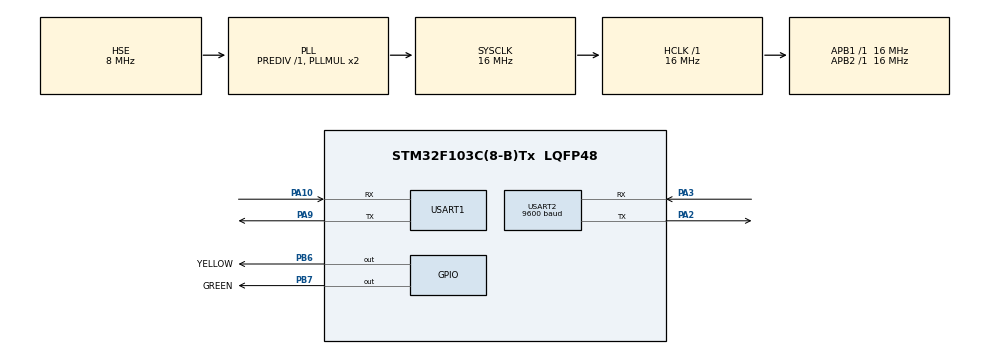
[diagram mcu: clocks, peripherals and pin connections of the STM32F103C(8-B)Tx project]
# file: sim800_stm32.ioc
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Mcu.Family=STM32F1
Mcu.Name=STM32F103C(8-B)Tx
Mcu.Package=LQFP48
NVIC.PriorityGroup=NVIC_PRIORITYGROUP_4
NVIC.USART1_IRQn=true\:0\:0\:false\:false\:true\:true\:true
PA10.Mode=Asynchronous
PA10.Signal=USART1_RX
PA13.Mode=Serial_Wire
PA13.Signal=SYS_JTMS-SWDIO
PA14.Mode=Serial_Wire
PA14.Signal=SYS_JTCK-SWCLK
PA2.Mode=Asynchronous
PA2.Signal=USART2_TX
PA3.Mode=Asynchronous
PA3.Signal=USART2_RX
PA9.Mode=Asynchronous
PA9.Signal=USART1_TX
PB6.GPIO_Label=YELLOW
PB6.Signal=GPIO_Output
PB7.GPIO_Label=GREEN
PB7.Signal=GPIO_Output
PD0-OSC_IN.Mode=HSE-External-Oscillator
PD0-OSC_IN.Signal=RCC_OSC_IN
PD1-OSC_OUT.Mode=HSE-External-Oscillator
PD1-OSC_OUT.Signal=RCC_OSC_OUT
ProjectManager.HeapSize=0x200
ProjectManager.StackSize=0x400
ProjectManager.TargetToolchain=MDK-ARM V5.27
RCC.AHBFreq_Value=16000000
RCC.APB1Freq_Value=16000000
RCC.APB1TimFreq_Value=16000000
RCC.APB2Freq_Value=16000000
RCC.APB2TimFreq_Value=16000000
RCC.HCLKFreq_Value=16000000
RCC.PLLSourceVirtual=RCC_PLLSOURCE_HSE
RCC.SYSCLKFreq_VALUE=16000000
RCC.SYSCLKSource=RCC_SYSCLKSOURCE_PLLCLK
RCC.USBFreq_Value=16000000
USART1.VirtualMode=VM_ASYNC
USART2.BaudRate=9600
USART2.VirtualMode=VM_ASYNC
board=custom

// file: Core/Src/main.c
/* USER CODE BEGIN Header */
/**
  ******************************************************************************
  * @file           : main.c
  * @brief          : Main program body
  ******************************************************************************
  * @attention
  *
  * <h2><center>&copy; Copyright (c) 2023 STMicroelectronics.
  * All rights reserved.</center></h2>
  *
  * This software component is licensed by ST under BSD 3-Clause license,
  * the "License"; You may not use this file except in compliance with the
  * License. You may obtain a copy of the License at:
  *                        opensource.org/licenses/BSD-3-Clause
  *
  ******************************************************************************
  */
/* USER CODE END Header */
#include "main.h"

/* USER CODE BEGIN Includes */

#include "GSM_stm32.h"
#include "stdlib.h"
#include "stdio.h"
/* USER CODE END Includes */

UART_HandleTypeDef huart1;
UART_HandleTypeDef huart2;

/* USER CODE BEGIN PV */

extern char uart1_rx_buffer[RX_BUFFER_SIZE];
extern char uart1_rx_temp;
extern char receive_message[RX_BUFFER_SIZE];
extern char receive_message_number[30];
char number[] = "+989378936996";

/* USER CODE END PV */

void SystemClock_Config(void);
static void MX_GPIO_Init(void);
static void MX_USART1_UART_Init(void);
static void MX_USART2_UART_Init(void);

/* USER CODE BEGIN 0 */

void HAL_UART_RxCpltCallback (UART_HandleTypeDef *huart)
{
		if (huart == &huart1)
		{
				get_answer();
		}
}

/* USER CODE END 0 */

int main(void)
{

  /* MCU Configuration--------------------------------------------------------*/

  /* Reset of all peripherals, Initializes the Flash interface and the Systick. */
  HAL_Init();

  /* Configure the system clock */
  SystemClock_Config();

  /* Initialize all configured peripherals */
  MX_GPIO_Init();
  MX_USART1_UART_Init();
  MX_USART2_UART_Init();
  /* USER CODE BEGIN 2 */

	if (GSM_init())
	{
		green_blink(2000);
	}
	else
	{
		yellow_blink(2000);
	}

  /* USER CODE END 2 */

  /* Infinite loop */
  /* USER CODE BEGIN WHILE */

	while (1)
	{

		if (strstr(uart1_rx_buffer, "+CMTI:") != NULL)
		{
			GSM_read_message();

			if ((strstr(receive_message, "Test SMS") != NULL) && (strstr(receive_message_number, number) != NULL))
			{
					GSM_send_message("sms received", number);
			}

			memset(receive_message, 0, RX_BUFFER_SIZE);

			memset(receive_message_number, 0, RECEIVE_NUMBER_SIZE);
		}

    /* USER CODE END WHILE */

  }
}

void SystemClock_Config(void)
{
  RCC_OscInitTypeDef RCC_OscInitStruct = {0};
  RCC_ClkInitTypeDef RCC_ClkInitStruct = {0};

  /** Initializes the RCC Oscillators according to the specified parameters
  * in the RCC_OscInitTypeDef structure.
  */
  RCC_OscInitStruct.OscillatorType = RCC_OSCILLATORTYPE_HSE;
  RCC_OscInitStruct.HSEState = RCC_HSE_ON;
  RCC_OscInitStruct.HSEPredivValue = RCC_HSE_PREDIV_DIV1;
  RCC_OscInitStruct.HSIState = RCC_HSI_ON;
  RCC_OscInitStruct.PLL.PLLState = RCC_PLL_ON;
  RCC_OscInitStruct.PLL.PLLSource = RCC_PLLSOURCE_HSE;
  RCC_OscInitStruct.PLL.PLLMUL = RCC_PLL_MUL2;
  if (HAL_RCC_OscConfig(&RCC_OscInitStruct) != HAL_OK)
  {
    Error_Handler();
  }
  /** Initializes the CPU, AHB and APB buses clocks
  */
  RCC_ClkInitStruct.ClockType = RCC_CLOCKTYPE_HCLK|RCC_CLOCKTYPE_SYSCLK
                              |RCC_CLOCKTYPE_PCLK1|RCC_CLOCKTYPE_PCLK2;
  RCC_ClkInitStruct.SYSCLKSource = RCC_SYSCLKSOURCE_PLLCLK;
  RCC_ClkInitStruct.AHBCLKDivider = RCC_SYSCLK_DIV1;
  RCC_ClkInitStruct.APB1CLKDivider = RCC_HCLK_DIV1;
  RCC_ClkInitStruct.APB2CLKDivider = RCC_HCLK_DIV1;

  if (HAL_RCC_ClockConfig(&RCC_ClkInitStruct, FLASH_LATENCY_0) != HAL_OK)
  {
    Error_Handler();
  }
}

static void MX_USART1_UART_Init(void)
{

  huart1.Instance = USART1;
  huart1.Init.BaudRate = 115200;
  huart1.Init.WordLength = UART_WORDLENGTH_8B;
  huart1.Init.StopBits = UART_STOPBITS_1;
  huart1.Init.Parity = UART_PARITY_NONE;
  huart1.Init.Mode = UART_MODE_TX_RX;
  huart1.Init.HwFlowCtl = UART_HWCONTROL_NONE;
  huart1.Init.OverSampling = UART_OVERSAMPLING_16;
  if (HAL_UART_Init(&huart1) != HAL_OK)
  {
    Error_Handler();
  }

}

static void MX_USART2_UART_Init(void)
{

  huart2.Instance = USART2;
  huart2.Init.BaudRate = 9600;
  huart2.Init.WordLength = UART_WORDLENGTH_8B;
  huart2.Init.StopBits = UART_STOPBITS_1;
  huart2.Init.Parity = UART_PARITY_NONE;
  huart2.Init.Mode = UART_MODE_TX_RX;
  huart2.Init.HwFlowCtl = UART_HWCONTROL_NONE;
  huart2.Init.OverSampling = UART_OVERSAMPLING_16;
  if (HAL_UART_Init(&huart2) != HAL_OK)
  {
    Error_Handler();
  }

}

static void MX_GPIO_Init(void)
{
  GPIO_InitTypeDef GPIO_InitStruct = {0};

  /* GPIO Ports Clock Enable */
  __HAL_RCC_GPIOD_CLK_ENABLE();
  __HAL_RCC_GPIOA_CLK_ENABLE();
  __HAL_RCC_GPIOB_CLK_ENABLE();

  /*Configure GPIO pin Output Level */
  HAL_GPIO_WritePin(GPIOB, YELLOW_Pin|GREEN_Pin, GPIO_PIN_RESET);

  /*Configure GPIO pins : YELLOW_Pin GREEN_Pin */
  GPIO_InitStruct.Pin = YELLOW_Pin|GREEN_Pin;
  GPIO_InitStruct.Mode = GPIO_MODE_OUTPUT_PP;
  GPIO_InitStruct.Pull = GPIO_NOPULL;
  GPIO_InitStruct.Speed = GPIO_SPEED_FREQ_LOW;
  HAL_GPIO_Init(GPIOB, &GPIO_InitStruct);

}

void Error_Handler(void)
{
  __disable_irq();
  while (1)
  {
  }
}

/************************ (C) COPYRIGHT STMicroelectronics *****END OF FILE****/
